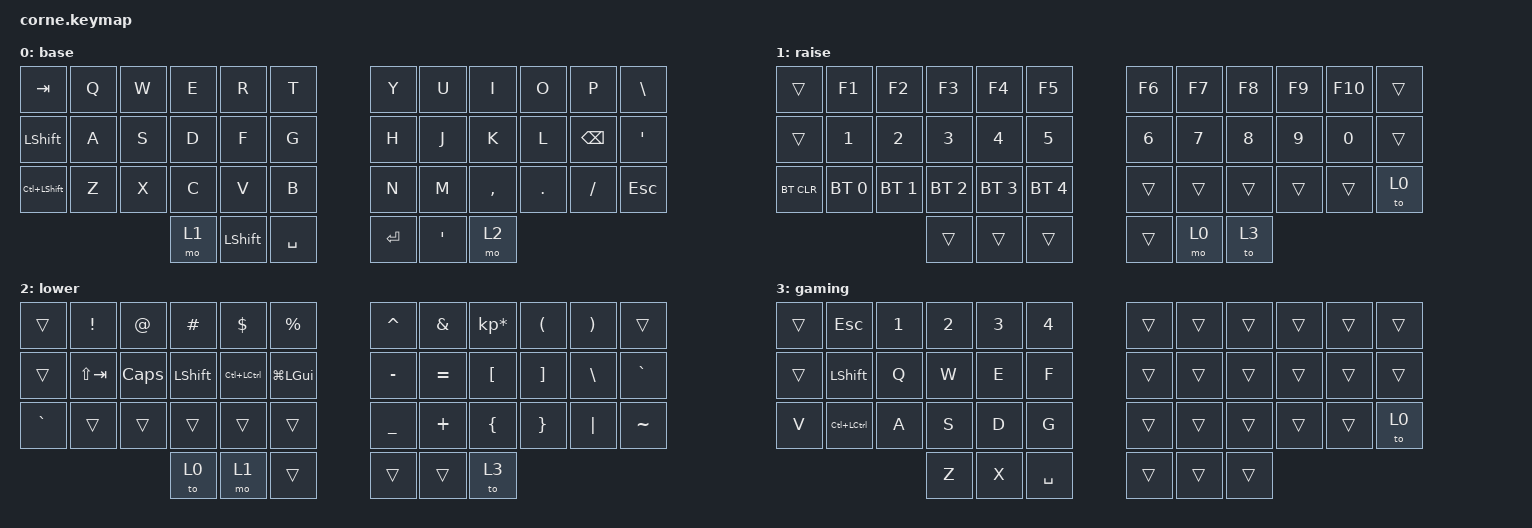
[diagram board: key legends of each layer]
/*
 * Copyright (c) 2020 The ZMK Contributors
 *
 * SPDX-License-Identifier: MIT
 */

#include <behaviors.dtsi>
#include <dt-bindings/zmk/bt.h>
#include <dt-bindings/zmk/keys.h>

// dt-formatter: indent = "  "
// dt-formatter: reindentMultilineIntegerCells = "dedent"

/ {
  behaviors {
    hm: homerow_mods {
      compatible = "zmk,behavior-hold-tap";
      label = "HOMEROW_MODS";
      #binding-cells = <2>;
      tapping-term-ms = <150>;
      quick-tap-ms = <0>;
      flavor = "tap-preferred";
      bindings =
        <&kp>,
        <&kp>;
    };
  };

  combos {
    compatible = "zmk,combos";

    tab {
      bindings = <&trans>;
      key-positions = <2 3>;
    };

    ctrl {
      bindings = <&kp LCTRL>;
      key-positions = <26 27>;
    };

    cmd {
      bindings = <&kp LCMD>;
      key-positions = <37 38>;
    };

    alt {
      bindings = <&kp LEFT_ALT>;
      key-positions = <39 40>;
    };

    shift {
      bindings = <&kp LSHIFT>;
      key-positions = <8 9>;
    };

    caps_word {
      bindings = <&caps_word>;
      key-positions = <17 18>;
    };

    delete {
      bindings = <&kp DEL>;
      key-positions = <32 33>;
    };
  };

  macros {
    zed_em_kay: zed_em_kay {
      compatible = "zmk,behavior-macro";
      label = "ZM_zed_em_kay";
      #binding-cells = <0>;
      bindings =
        <&macro_press>,
        <&kp LSHFT>,
        <&macro_tap>,
        <&kp Z &kp M &kp K>,
        <&macro_release>,
        <&kp LSHFT>;
    };
  };

  keymap {
    compatible = "zmk,keymap";

    base {
      bindings = <
       &kp TAB  &kp Q  &kp W  &kp E           &kp R      &kp T      &kp Y     &kp U      &kp I    &kp O     &kp P  &kp BSLH
&kp LEFT_SHIFT  &kp A  &kp S  &kp D           &kp F      &kp G      &kp H     &kp J      &kp K    &kp L  &kp BSPC  &kp APOS
 &kp LC(LSHFT)  &kp Z  &kp X  &kp C           &kp V      &kp B      &kp N     &kp M  &kp COMMA  &kp DOT  &kp FSLH   &kp ESC
                              &mo 1  &kp LEFT_SHIFT  &kp SPACE    &kp RET  &kp APOS      &mo 2
      >;
    };

    raise {
      bindings = <
    &trans        &kp F1        &kp F2        &kp F3        &kp F4        &kp F5          &kp F6        &kp F7        &kp F8        &kp F9       &kp F10  &trans
    &trans  &kp NUMBER_1  &kp NUMBER_2  &kp NUMBER_3  &kp NUMBER_4  &kp NUMBER_5    &kp NUMBER_6  &kp NUMBER_7  &kp NUMBER_8  &kp NUMBER_9  &kp NUMBER_0  &trans
&bt BT_CLR  &bt BT_SEL 0  &bt BT_SEL 1  &bt BT_SEL 2  &bt BT_SEL 3  &bt BT_SEL 4          &trans        &trans        &trans        &trans        &trans   &to 0
                                              &trans        &trans        &trans          &trans         &mo 0         &to 3
      >;
    };

    lower {
      bindings = <
   &trans     &kp EXCL        &kp AT        &kp HASH              &kp DLLR         &kp PRCNT    &kp CARET   &kp AMPS  &kp KP_MULTIPLY  &kp LPAR  &kp RPAR     &trans
   &trans  &kp LS(TAB)  &kp CAPSLOCK  &kp LEFT_SHIFT  &kp LC(LEFT_CONTROL)  &kp LG(LEFT_GUI)    &kp MINUS  &kp EQUAL         &kp LBKT  &kp RBKT  &kp BSLH  &kp GRAVE
&kp GRAVE       &trans        &trans          &trans                &trans            &trans    &kp UNDER   &kp PLUS         &kp LBRC  &kp RBRC  &kp PIPE  &kp TILDE
                                               &to 0                 &mo 1            &trans       &trans     &trans            &to 3
      >;
    };

    gaming {
      bindings = <
&trans               &kp ESC  &kp NUMBER_1  &kp NUMBER_2  &kp NUMBER_3  &kp NUMBER_4    &trans  &trans  &trans  &trans  &trans  &trans
&trans        &kp LEFT_SHIFT         &kp Q         &kp W         &kp E         &kp F    &trans  &trans  &trans  &trans  &trans  &trans
 &kp V  &kp LC(LEFT_CONTROL)         &kp A         &kp S         &kp D         &kp G    &trans  &trans  &trans  &trans  &trans   &to 0
                                                   &kp Z         &kp X     &kp SPACE    &trans  &trans  &trans
      >;
    };
  };
};
